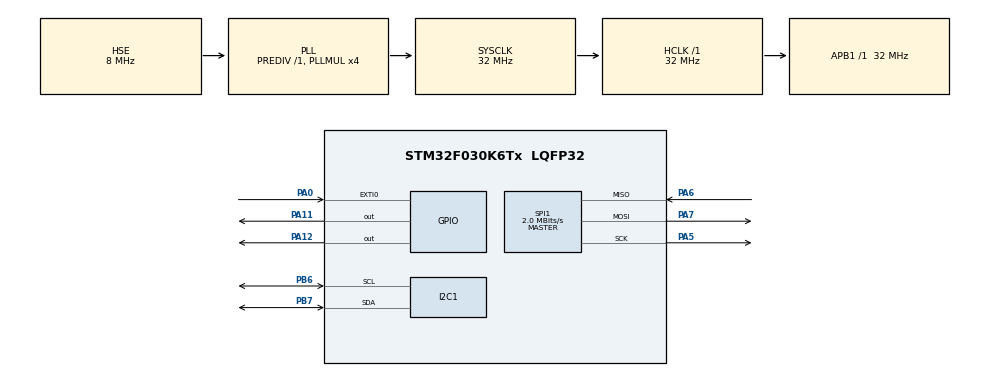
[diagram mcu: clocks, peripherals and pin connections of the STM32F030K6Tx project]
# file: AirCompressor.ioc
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I2C1.Timing=0x00707CBB
Mcu.Family=STM32F0
Mcu.Name=STM32F030K6Tx
Mcu.Package=LQFP32
NVIC.EXTI0_1_IRQn=true\:0\:0\:false\:false\:true\:true\:true\:true
PA0.GPIO_ModeDefaultEXTI=GPIO_MODE_IT_FALLING
PA0.Signal=GPXTI0
PA11.Signal=GPIO_Output
PA12.Signal=GPIO_Output
PA13.Mode=Serial_Wire
PA13.Signal=SYS_SWDIO
PA14.Mode=Serial_Wire
PA14.Signal=SYS_SWCLK
PA5.Mode=Full_Duplex_Master
PA5.Signal=SPI1_SCK
PA6.Mode=Full_Duplex_Master
PA6.Signal=SPI1_MISO
PA7.Mode=Full_Duplex_Master
PA7.Signal=SPI1_MOSI
PB6.Mode=I2C
PB6.Signal=I2C1_SCL
PB7.Mode=I2C
PB7.Signal=I2C1_SDA
PF0-OSC_IN.Mode=HSE-External-Oscillator
PF0-OSC_IN.Signal=RCC_OSC_IN
PF1-OSC_OUT.Mode=HSE-External-Oscillator
PF1-OSC_OUT.Signal=RCC_OSC_OUT
ProjectManager.HeapSize=0x200
ProjectManager.StackSize=0x400
ProjectManager.TargetToolchain=Makefile
RCC.AHBFreq_Value=32000000
RCC.APB1Freq_Value=32000000
RCC.APB1TimFreq_Value=32000000
RCC.HCLKFreq_Value=32000000
RCC.I2c1ClockSelection=RCC_I2C1CLKSOURCE_SYSCLK
RCC.PLLMUL=RCC_PLL_MUL4
RCC.PLLSourceVirtual=RCC_PLLSOURCE_HSE
RCC.SYSCLKFreq_VALUE=32000000
RCC.SYSCLKSource=RCC_SYSCLKSOURCE_PLLCLK
SPI1.BaudRatePrescaler=SPI_BAUDRATEPRESCALER_16
SPI1.CalculateBaudRate=2.0 MBits/s
SPI1.DataSize=SPI_DATASIZE_8BIT
SPI1.Direction=SPI_DIRECTION_2LINES
SPI1.Mode=SPI_MODE_MASTER
SPI1.VirtualType=VM_MASTER
board=custom

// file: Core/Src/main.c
/* USER CODE BEGIN Header */
/**
  ******************************************************************************
  * @file           : main.c
  * @brief          : Main program body
  ******************************************************************************
  * @attention
  *
  * Copyright (c) 2022 STMicroelectronics.
  * All rights reserved.
  *
  * This software is licensed under terms that can be found in the LICENSE file
  * in the root directory of this software component.
  * If no LICENSE file comes with this software, it is provided AS-IS.
  *
  ******************************************************************************
  */
/* USER CODE END Header */
#include "main.h"
#include "i2c.h"
#include "spi.h"
#include "gpio.h"

/* USER CODE BEGIN Includes */
#include "NRF24.h"
#include "BME280.h"
/* USER CODE END Includes */

/* USER CODE BEGIN PV */
char str1[20]={0};
uint8_t buf1[5]={0};
/* USER CODE END PV */

void SystemClock_Config(void);

int main(void)
{
  /* USER CODE BEGIN 1 */
	//float  tf, pf;
	uint32_t pressure;
	//uint8_t dt_reg=0;
	uint8_t retr_cnt=0, dt;
	uint16_t i=1,retr_cnt_full=0;
  /* USER CODE END 1 */

  /* MCU Configuration--------------------------------------------------------*/

  /* Reset of all peripherals, Initializes the Flash interface and the Systick. */
  HAL_Init();

  /* Configure the system clock */
  SystemClock_Config();

  /* Initialize all configured peripherals */
  MX_GPIO_Init();
  MX_I2C1_Init();
  MX_SPI1_Init();
  /* USER CODE BEGIN 2 */
  BME280_Init();

  NRF24_ini();
  /* USER CODE END 2 */

  /* Infinite loop */
  while (1)
  {

    /* USER CODE BEGIN 3 */
	  if(BME280_GetStatus() == OK)
	  {
		  //tf = BME280_ReadTemperature();
		  //pf = BME280_ReadPressure();
		  pressure = BME280_ReadPressure();
	  }

  	//HAL_Delay(1000);
  	//memcpy(buf1,(uint8_t*)&i,2);
  	//if(retr_cnt_full>999) retr_cnt_full=999;
  	//memcpy(buf1+2,(uint8_t*)&retr_cnt_full,2);
  	buf1[0] = (uint8_t)(pressure & 0xFF);
  	pressure >>= 8;
  	buf1[1] = (uint8_t)(pressure & 0xFF);
  	pressure >>= 8;
  	buf1[2] = (uint8_t)(pressure & 0xFF);
  	//buf1 = &pressure;

  	//uint32_t temp = 0;
  	//temp = *((uint32_t*)buf1);

  	buf1[3] = retr_cnt_full;
  	buf1[4] = i;
  }
  /* USER CODE END 3 */
}

void SystemClock_Config(void)
{
  RCC_OscInitTypeDef RCC_OscInitStruct = {0};
  RCC_ClkInitTypeDef RCC_ClkInitStruct = {0};
  RCC_PeriphCLKInitTypeDef PeriphClkInit = {0};

  /** Initializes the RCC Oscillators according to the specified parameters
  * in the RCC_OscInitTypeDef structure.
  */
  RCC_OscInitStruct.OscillatorType = RCC_OSCILLATORTYPE_HSE;
  RCC_OscInitStruct.HSEState = RCC_HSE_ON;
  RCC_OscInitStruct.PLL.PLLState = RCC_PLL_ON;
  RCC_OscInitStruct.PLL.PLLSource = RCC_PLLSOURCE_HSE;
  RCC_OscInitStruct.PLL.PLLMUL = RCC_PLL_MUL4;
  RCC_OscInitStruct.PLL.PREDIV = RCC_PREDIV_DIV1;
  if (HAL_RCC_OscConfig(&RCC_OscInitStruct) != HAL_OK)
  {
    Error_Handler();
  }

  /** Initializes the CPU, AHB and APB buses clocks
  */
  RCC_ClkInitStruct.ClockType = RCC_CLOCKTYPE_HCLK|RCC_CLOCKTYPE_SYSCLK
                              |RCC_CLOCKTYPE_PCLK1;
  RCC_ClkInitStruct.SYSCLKSource = RCC_SYSCLKSOURCE_PLLCLK;
  RCC_ClkInitStruct.AHBCLKDivider = RCC_SYSCLK_DIV1;
  RCC_ClkInitStruct.APB1CLKDivider = RCC_HCLK_DIV1;

  if (HAL_RCC_ClockConfig(&RCC_ClkInitStruct, FLASH_LATENCY_1) != HAL_OK)
  {
    Error_Handler();
  }
  PeriphClkInit.PeriphClockSelection = RCC_PERIPHCLK_I2C1;
  PeriphClkInit.I2c1ClockSelection = RCC_I2C1CLKSOURCE_SYSCLK;
  if (HAL_RCCEx_PeriphCLKConfig(&PeriphClkInit) != HAL_OK)
  {
    Error_Handler();
  }
}

/* USER CODE BEGIN 4 */
void HAL_GPIO_EXTI_Callback(uint16_t GPIO_Pin)
{
	if (GPIO_Pin == GPIO_PIN_0 )
		{
			NRF24L01_IT();
		}
}
/* USER CODE END 4 */

void Error_Handler(void)
{
  __disable_irq();
  while (1)
  {
  }
}
